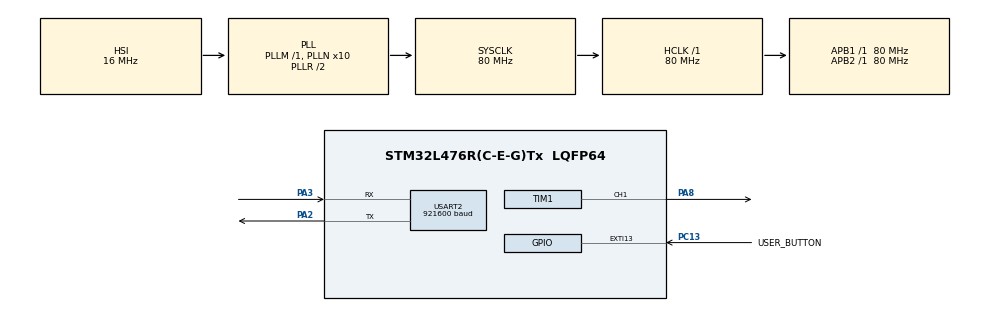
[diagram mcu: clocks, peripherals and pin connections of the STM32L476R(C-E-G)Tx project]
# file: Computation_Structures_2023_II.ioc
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Dma.Request0=USART2_TX
Dma.USART2_TX.0.Direction=DMA_MEMORY_TO_PERIPH
Dma.USART2_TX.0.Instance=DMA1_Channel7
Dma.USART2_TX.0.MemDataAlignment=DMA_MDATAALIGN_BYTE
Dma.USART2_TX.0.MemInc=DMA_MINC_ENABLE
Dma.USART2_TX.0.Mode=DMA_NORMAL
Dma.USART2_TX.0.PeriphDataAlignment=DMA_PDATAALIGN_BYTE
Dma.USART2_TX.0.PeriphInc=DMA_PINC_DISABLE
Dma.USART2_TX.0.Priority=DMA_PRIORITY_HIGH
Mcu.Family=STM32L4
Mcu.Name=STM32L476R(C-E-G)Tx
Mcu.Package=LQFP64
NVIC.DMA1_Channel7_IRQn=true\:0\:0\:false\:false\:true\:false\:true\:true
NVIC.EXTI15_10_IRQn=true\:0\:0\:false\:false\:true\:true\:true\:true
NVIC.PriorityGroup=NVIC_PRIORITYGROUP_4
NVIC.TIM7_IRQn=true\:0\:0\:false\:false\:true\:true\:true\:true
NVIC.USART2_IRQn=true\:0\:0\:false\:false\:true\:true\:true\:true
PA2.Mode=Asynchronous
PA2.Signal=USART2_TX
PA3.Mode=Asynchronous
PA3.Signal=USART2_RX
PA8.Signal=S_TIM1_CH1
PC13.GPIO_Label=USER_BUTTON
PC13.Signal=GPXTI13
ProjectManager.HeapSize=0x200
ProjectManager.StackSize=0x400
ProjectManager.TargetToolchain=STM32CubeIDE
RCC.ADCFreq_Value=64000000
RCC.AHBFreq_Value=80000000
RCC.APB1Freq_Value=80000000
RCC.APB1TimFreq_Value=80000000
RCC.APB2Freq_Value=80000000
RCC.APB2TimFreq_Value=80000000
RCC.CortexFreq_Value=80000000
RCC.HCLKFreq_Value=80000000
RCC.HSE_VALUE=8000000
RCC.HSI_VALUE=16000000
RCC.LSE_VALUE=32768
RCC.MSI_VALUE=4000000
RCC.PLLN=10
RCC.PLLSourceVirtual=RCC_PLLSOURCE_HSI
RCC.PREFETCH_ENABLE=1
RCC.SYSCLKFreq_VALUE=80000000
RCC.SYSCLKSource=RCC_SYSCLKSOURCE_PLLCLK
RCC.USBFreq_Value=64000000
RCC.VCOOutputFreq_Value=160000000
SH.S_TIM1_CH1.0=TIM1_CH1,PWM Generation1 CH1
TIM1.Channel-PWM\ Generation1\ CH1=TIM_CHANNEL_1
TIM1.Period=100-1
TIM1.Prescaler=800-1
TIM7.Period=10000-1
TIM7.Prescaler=8000-1
USART2.BaudRate=921600
USART2.VirtualMode-Asynchronous=VM_ASYNC
VP_TIM1_VS_ClockSourceINT.Mode=Internal
VP_TIM7_VS_ClockSourceINT.Mode=Enable_Timer
board=NUCLEO-L476RG

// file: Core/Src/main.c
/* USER CODE BEGIN Header */
/**
  ******************************************************************************
  * @file           : main.c
  * @brief          : Main program body
  ******************************************************************************
  * @attention
  *
  * Copyright (c) 2023 STMicroelectronics.
  * All rights reserved.
  *
  * This software is licensed under terms that can be found in the LICENSE file
  * in the root directory of this software component.
  * If no LICENSE file comes with this software, it is provided AS-IS.
  *
  ******************************************************************************
  */
/* USER CODE END Header */
#include "main.h"

/* USER CODE BEGIN Includes */
#include <stdio.h>
#include <string.h>
/* USER CODE END Includes */

TIM_HandleTypeDef htim1;
TIM_HandleTypeDef htim7;

UART_HandleTypeDef huart2;
DMA_HandleTypeDef hdma_usart2_tx;

/* USER CODE BEGIN PV */
uint8_t rx_buffer[4];

uint8_t tx_busy = 0;
/* USER CODE END PV */

void SystemClock_Config(void);
static void MX_GPIO_Init(void);
static void MX_DMA_Init(void);
static void MX_USART2_UART_Init(void);
static void MX_TIM7_Init(void);
static void MX_TIM1_Init(void);

/* USER CODE BEGIN 0 */
int _write(int file, char *ptr, int len)
{
	while (tx_busy != 0) {/* Wait */}
	  HAL_UART_Transmit_DMA(&huart2, (uint8_t *)ptr, len);
	  tx_busy = 1;
	  return len;
}

void HAL_UART_RxCpltCallback(UART_HandleTypeDef *huart)
{
	//HAL_GPIO_TogglePin(LED_GREEN_GPIO_Port, LED_GREEN_Pin);
	//HAL_UART_Receive_IT(&huart2, rx_buffer, 4);
}

void HAL_UART_TxCpltCallback(UART_HandleTypeDef *huart)
{
	tx_busy = 0;
}

void HAL_TIM_PeriodElapsedCallback(TIM_HandleTypeDef *htim)
{
	static uint32_t counter = 0;
	printf("Counter: %ld\r\n", counter++);
}

/* USER CODE END 0 */

int main(void)
{

  /* MCU Configuration--------------------------------------------------------*/

  /* Reset of all peripherals, Initializes the Flash interface and the Systick. */
  HAL_Init();

  /* Configure the system clock */
  SystemClock_Config();

  /* Initialize all configured peripherals */
  MX_GPIO_Init();
  MX_DMA_Init();
  MX_USART2_UART_Init();
  MX_TIM7_Init();
  MX_TIM1_Init();
  /* USER CODE BEGIN 2 */

  HAL_UART_Receive_IT(&huart2, rx_buffer,4);

  HAL_TIM_Base_Start_IT(&htim7);

  TIM1 ->CCR1 = 50; //to set the compare channel
  HAL_TIM_PWM_Start(&htim1, TIM_CHANNEL_1);

  /*for (uint8_t idx =0; idx <= 0x0F; idx++)
	  printf("IDX: 0x%02X\r\n", idx);*/

  /*for (uint8_t idx =0; idx <= 10; idx++)
	  printf("Hello World!\r\n");*/

  /*@third
  printf("Hello World!\r\n");*/

  /*@second
  uint8_t my_str[] = "Hello world!\r\n";
  HAL_UART_Transmit(&huart2, my_str, sizeof(my_str)-1, 10);*/

  /*@fist
   HAL_UART_Transmit(&huart2, (uint8_t *)"Hello World!\r\n", 14, 20);*/
  /* USER CODE END 2 */

  /* Infinite loop */
  while (1)
  {

  }
}

void SystemClock_Config(void)
{
  RCC_OscInitTypeDef RCC_OscInitStruct = {0};
  RCC_ClkInitTypeDef RCC_ClkInitStruct = {0};

  /** Configure the main internal regulator output voltage
  */
  if (HAL_PWREx_ControlVoltageScaling(PWR_REGULATOR_VOLTAGE_SCALE1) != HAL_OK)
  {
    Error_Handler();
  }

  /** Initializes the RCC Oscillators according to the specified parameters
  * in the RCC_OscInitTypeDef structure.
  */
  RCC_OscInitStruct.OscillatorType = RCC_OSCILLATORTYPE_HSI;
  RCC_OscInitStruct.HSIState = RCC_HSI_ON;
  RCC_OscInitStruct.HSICalibrationValue = RCC_HSICALIBRATION_DEFAULT;
  RCC_OscInitStruct.PLL.PLLState = RCC_PLL_ON;
  RCC_OscInitStruct.PLL.PLLSource = RCC_PLLSOURCE_HSI;
  RCC_OscInitStruct.PLL.PLLM = 1;
  RCC_OscInitStruct.PLL.PLLN = 10;
  RCC_OscInitStruct.PLL.PLLP = RCC_PLLP_DIV7;
  RCC_OscInitStruct.PLL.PLLQ = RCC_PLLQ_DIV2;
  RCC_OscInitStruct.PLL.PLLR = RCC_PLLR_DIV2;
  if (HAL_RCC_OscConfig(&RCC_OscInitStruct) != HAL_OK)
  {
    Error_Handler();
  }

  /** Initializes the CPU, AHB and APB buses clocks
  */
  RCC_ClkInitStruct.ClockType = RCC_CLOCKTYPE_HCLK|RCC_CLOCKTYPE_SYSCLK
                              |RCC_CLOCKTYPE_PCLK1|RCC_CLOCKTYPE_PCLK2;
  RCC_ClkInitStruct.SYSCLKSource = RCC_SYSCLKSOURCE_PLLCLK;
  RCC_ClkInitStruct.AHBCLKDivider = RCC_SYSCLK_DIV1;
  RCC_ClkInitStruct.APB1CLKDivider = RCC_HCLK_DIV1;
  RCC_ClkInitStruct.APB2CLKDivider = RCC_HCLK_DIV1;

  if (HAL_RCC_ClockConfig(&RCC_ClkInitStruct, FLASH_LATENCY_4) != HAL_OK)
  {
    Error_Handler();
  }
}

static void MX_TIM1_Init(void)
{

  TIM_ClockConfigTypeDef sClockSourceConfig = {0};
  TIM_MasterConfigTypeDef sMasterConfig = {0};
  TIM_OC_InitTypeDef sConfigOC = {0};
  TIM_BreakDeadTimeConfigTypeDef sBreakDeadTimeConfig = {0};

  htim1.Instance = TIM1;
  htim1.Init.Prescaler = 800-1;
  htim1.Init.CounterMode = TIM_COUNTERMODE_UP;
  htim1.Init.Period = 100-1;
  htim1.Init.ClockDivision = TIM_CLOCKDIVISION_DIV1;
  htim1.Init.RepetitionCounter = 0;
  htim1.Init.AutoReloadPreload = TIM_AUTORELOAD_PRELOAD_DISABLE;
  if (HAL_TIM_Base_Init(&htim1) != HAL_OK)
  {
    Error_Handler();
  }
  sClockSourceConfig.ClockSource = TIM_CLOCKSOURCE_INTERNAL;
  if (HAL_TIM_ConfigClockSource(&htim1, &sClockSourceConfig) != HAL_OK)
  {
    Error_Handler();
  }
  if (HAL_TIM_PWM_Init(&htim1) != HAL_OK)
  {
    Error_Handler();
  }
  sMasterConfig.MasterOutputTrigger = TIM_TRGO_RESET;
  sMasterConfig.MasterOutputTrigger2 = TIM_TRGO2_RESET;
  sMasterConfig.MasterSlaveMode = TIM_MASTERSLAVEMODE_DISABLE;
  if (HAL_TIMEx_MasterConfigSynchronization(&htim1, &sMasterConfig) != HAL_OK)
  {
    Error_Handler();
  }
  sConfigOC.OCMode = TIM_OCMODE_PWM1;
  sConfigOC.Pulse = 0;
  sConfigOC.OCPolarity = TIM_OCPOLARITY_HIGH;
  sConfigOC.OCNPolarity = TIM_OCNPOLARITY_HIGH;
  sConfigOC.OCFastMode = TIM_OCFAST_DISABLE;
  sConfigOC.OCIdleState = TIM_OCIDLESTATE_RESET;
  sConfigOC.OCNIdleState = TIM_OCNIDLESTATE_RESET;
  if (HAL_TIM_PWM_ConfigChannel(&htim1, &sConfigOC, TIM_CHANNEL_1) != HAL_OK)
  {
    Error_Handler();
  }
  sBreakDeadTimeConfig.OffStateRunMode = TIM_OSSR_DISABLE;
  sBreakDeadTimeConfig.OffStateIDLEMode = TIM_OSSI_DISABLE;
  sBreakDeadTimeConfig.LockLevel = TIM_LOCKLEVEL_OFF;
  sBreakDeadTimeConfig.DeadTime = 0;
  sBreakDeadTimeConfig.BreakState = TIM_BREAK_DISABLE;
  sBreakDeadTimeConfig.BreakPolarity = TIM_BREAKPOLARITY_HIGH;
  sBreakDeadTimeConfig.BreakFilter = 0;
  sBreakDeadTimeConfig.Break2State = TIM_BREAK2_DISABLE;
  sBreakDeadTimeConfig.Break2Polarity = TIM_BREAK2POLARITY_HIGH;
  sBreakDeadTimeConfig.Break2Filter = 0;
  sBreakDeadTimeConfig.AutomaticOutput = TIM_AUTOMATICOUTPUT_DISABLE;
  if (HAL_TIMEx_ConfigBreakDeadTime(&htim1, &sBreakDeadTimeConfig) != HAL_OK)
  {
    Error_Handler();
  }
  HAL_TIM_MspPostInit(&htim1);

}

static void MX_TIM7_Init(void)
{

  TIM_MasterConfigTypeDef sMasterConfig = {0};

  htim7.Instance = TIM7;
  htim7.Init.Prescaler = 8000-1;
  htim7.Init.CounterMode = TIM_COUNTERMODE_UP;
  htim7.Init.Period = 10000-1;
  htim7.Init.AutoReloadPreload = TIM_AUTORELOAD_PRELOAD_DISABLE;
  if (HAL_TIM_Base_Init(&htim7) != HAL_OK)
  {
    Error_Handler();
  }
  sMasterConfig.MasterOutputTrigger = TIM_TRGO_RESET;
  sMasterConfig.MasterSlaveMode = TIM_MASTERSLAVEMODE_DISABLE;
  if (HAL_TIMEx_MasterConfigSynchronization(&htim7, &sMasterConfig) != HAL_OK)
  {
    Error_Handler();
  }

}

static void MX_USART2_UART_Init(void)
{

  huart2.Instance = USART2;
  huart2.Init.BaudRate = 921600;
  huart2.Init.WordLength = UART_WORDLENGTH_8B;
  huart2.Init.StopBits = UART_STOPBITS_1;
  huart2.Init.Parity = UART_PARITY_NONE;
  huart2.Init.Mode = UART_MODE_TX_RX;
  huart2.Init.HwFlowCtl = UART_HWCONTROL_NONE;
  huart2.Init.OverSampling = UART_OVERSAMPLING_16;
  huart2.Init.OneBitSampling = UART_ONE_BIT_SAMPLE_DISABLE;
  huart2.AdvancedInit.AdvFeatureInit = UART_ADVFEATURE_NO_INIT;
  if (HAL_UART_Init(&huart2) != HAL_OK)
  {
    Error_Handler();
  }

}

static void MX_DMA_Init(void)
{

  /* DMA controller clock enable */
  __HAL_RCC_DMA1_CLK_ENABLE();

  /* DMA interrupt init */
  /* DMA1_Channel7_IRQn interrupt configuration */
  HAL_NVIC_SetPriority(DMA1_Channel7_IRQn, 0, 0);
  HAL_NVIC_EnableIRQ(DMA1_Channel7_IRQn);

}

static void MX_GPIO_Init(void)
{
  GPIO_InitTypeDef GPIO_InitStruct = {0};

  /* GPIO Ports Clock Enable */
  __HAL_RCC_GPIOC_CLK_ENABLE();
  __HAL_RCC_GPIOA_CLK_ENABLE();

  /*Configure GPIO pin : USER_BUTTON_Pin */
  GPIO_InitStruct.Pin = USER_BUTTON_Pin;
  GPIO_InitStruct.Mode = GPIO_MODE_IT_RISING;
  GPIO_InitStruct.Pull = GPIO_NOPULL;
  HAL_GPIO_Init(USER_BUTTON_GPIO_Port, &GPIO_InitStruct);

  /* EXTI interrupt init*/
  HAL_NVIC_SetPriority(EXTI15_10_IRQn, 0, 0);
  HAL_NVIC_EnableIRQ(EXTI15_10_IRQn);

}

void Error_Handler(void)
{
  __disable_irq();
  while (1)
  {
  }
}
